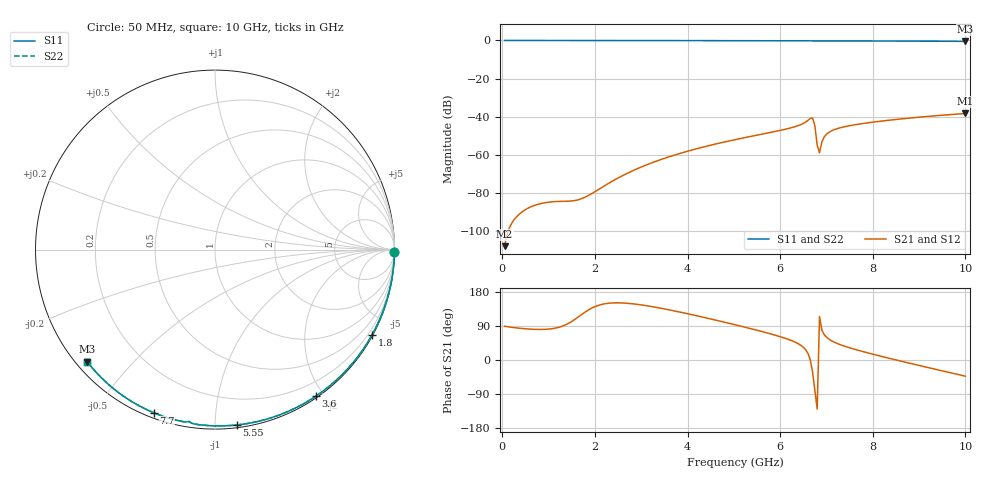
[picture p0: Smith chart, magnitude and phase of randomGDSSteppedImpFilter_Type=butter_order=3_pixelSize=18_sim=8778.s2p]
! freq	dB(S11)	phase(S11)	dB(S12)	phase(S12)
!  dB(S21)	phase(S21)	dB(S22)	phase(S22)
!S-par simulation data
#  GHz  S  DB  R 50
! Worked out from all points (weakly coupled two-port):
!   200 points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, 50 MHz to 10 GHz, reference 50 ohm
!   highest |S21| = -38.32 dB at 10 GHz (marker M1); lowest = -107.9 dB at 50 MHz (marker M2)
!   lowest |S11| = -0.5 dB at 10 GHz (marker M3), VSWR 36.71, Z = 1.56 - j18.8 ohm
!   |S11| at or under -10 dB: nowhere
!   |S22| runs from -0.5 to 0.0 dB; largest |S21 - S12| = 0
!   S11 on the Smith chart (normalised r, x): 50 MHz: open; 1.8 GHz: 0.03, -3.95; 3.6 GHz: 0.02, -1.90; 5.55 GHz: 0.02, -1.13; 7.7 GHz: 0.02, -0.69; 10 GHz: 0.03, -0.38
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0.05  -0.00 -0.8  -107.94 89.0  -107.94 89.0  -0.00 -0.8
0.9  -0.02 -14.4  -85.23 80.8  -85.23 80.8  -0.02 -14.4
1.75  -0.04 -27.7  -82.66 123.3  -82.66 123.3  -0.04 -27.7
1.8  -0.04 -28.4  -82.10 127.4  -82.10 127.4  -0.04 -28.4
1.95  -0.04 -30.8  -80.12 138.0  -80.12 138.0  -0.04 -30.8
2.65  -0.05 -41.4  -70.27 150.1  -70.27 150.1  -0.05 -41.4
3.4  -0.07 -52.6  -62.69 137.2  -62.69 137.2  -0.07 -52.6
3.6  -0.07 -55.6  -61.05 132.4  -61.05 132.4  -0.07 -55.6
5.05  -0.12 -76.1  -51.93 92.3  -51.93 92.3  -0.12 -76.1
5.55  -0.14 -82.9  -49.43 76.9  -49.43 76.9  -0.14 -82.9
6.35  -0.17 -93.6  -45.03 45.7  -45.03 45.7  -0.17 -93.6
6.7  -0.26 -98.3  -40.63 -31.5  -40.63 -31.5  -0.26 -98.3
6.75  -0.28 -98.6  -44.74 -79.3  -44.74 -79.3  -0.28 -98.6
6.8  -0.25 -99.1  -54.92 -129.3  -54.92 -129.3  -0.25 -99.0
6.85  -0.23 -99.7  -58.97 114.6  -58.97 114.6  -0.23 -99.7
6.9  -0.22 -100.4  -53.27 79.3  -53.27 79.3  -0.22 -100.4
6.95  -0.22 -101.0  -50.70 67.2  -50.70 67.2  -0.22 -101.0
7.05  -0.22 -102.3  -48.25 55.2  -48.25 55.2  -0.22 -102.3
7.3  -0.23 -105.6  -45.79 40.3  -45.79 40.3  -0.23 -105.6
7.7  -0.26 -110.6  -43.89 25.1  -43.89 25.1  -0.26 -110.6
8.35  -0.31 -118.6  -41.85 4.6  -41.85 4.6  -0.31 -118.6
10  -0.47 -138.7  -38.32 -42.7  -38.32 -42.7  -0.47 -138.7
